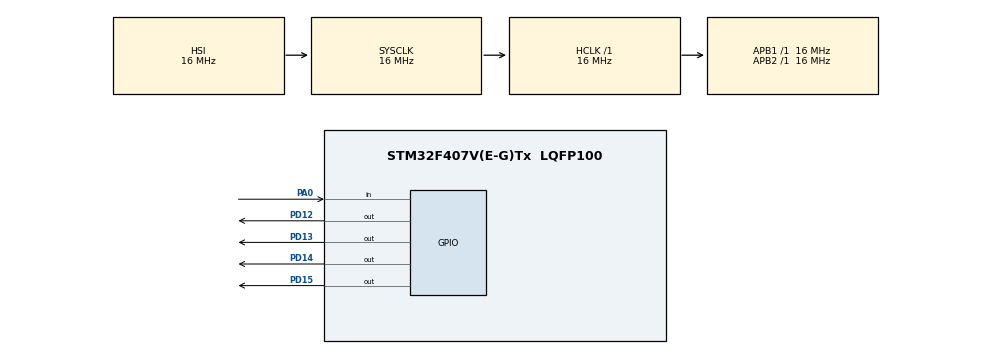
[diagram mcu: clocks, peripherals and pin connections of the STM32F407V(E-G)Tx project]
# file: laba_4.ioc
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Mcu.Family=STM32F4
Mcu.Name=STM32F407V(E-G)Tx
Mcu.Package=LQFP100
NVIC.PriorityGroup=NVIC_PRIORITYGROUP_4
NVIC.TIM2_IRQn=true\:0\:0\:false\:false\:true\:true\:true\:true
NVIC.TIM3_IRQn=true\:0\:0\:false\:false\:true\:true\:true\:true
NVIC.TIM4_IRQn=true\:0\:0\:false\:false\:true\:true\:true\:true
NVIC.TIM5_IRQn=true\:0\:0\:false\:false\:true\:true\:true\:true
PA0-WKUP.Signal=GPIO_Input
PD12.Signal=GPIO_Output
PD13.Signal=GPIO_Output
PD14.Signal=GPIO_Output
PD15.Signal=GPIO_Output
ProjectManager.HeapSize=0x200
ProjectManager.StackSize=0x400
ProjectManager.TargetToolchain=STM32CubeIDE
RCC.AHBFreq_Value=16000000
RCC.APB1Freq_Value=16000000
RCC.APB2Freq_Value=16000000
RCC.CortexFreq_Value=16000000
RCC.HSE_VALUE=25000000
RCC.HSI_VALUE=16000000
RCC.LSE_VALUE=32768
RCC.SYSCLKFreq_VALUE=16000000
RCC.VCOOutputFreq_Value=192000000
TIM2.Period=100
TIM2.Prescaler=15999
TIM3.Period=100
TIM3.Prescaler=15999
TIM4.Period=100
TIM4.Prescaler=15999
TIM5.Period=100
TIM5.Prescaler=15999
VP_TIM2_VS_ClockSourceINT.Mode=Internal
VP_TIM3_VS_ClockSourceINT.Mode=Internal
VP_TIM4_VS_ClockSourceINT.Mode=Internal
VP_TIM5_VS_ClockSourceINT.Mode=Internal
board=custom

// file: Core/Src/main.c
/* USER CODE BEGIN Header */
/**
  ******************************************************************************
  * @file           : main.c
  * @brief          : Main program body
  ******************************************************************************
  * @attention
  *
  * Copyright (c) 2024 STMicroelectronics.
  * All rights reserved.
  *
  * This software is licensed under terms that can be found in the LICENSE file
  * in the root directory of this software component.
  * If no LICENSE file comes with this software, it is provided AS-IS.
  *
  ******************************************************************************
  */
/* USER CODE END Header */
#include "main.h"

TIM_HandleTypeDef htim2;
TIM_HandleTypeDef htim3;
TIM_HandleTypeDef htim4;
TIM_HandleTypeDef htim5;

void SystemClock_Config(void);
static void MX_GPIO_Init(void);
static void MX_TIM3_Init(void);
static void MX_TIM2_Init(void);
static void MX_TIM4_Init(void);
static void MX_TIM5_Init(void);

/* USER CODE BEGIN 0 */
uint32_t count = 0;
uint8_t state = 0;

uint32_t periods[] = {99, 199, 299, 399};
/* USER CODE END 0 */

int main(void)
{

  /* MCU Configuration--------------------------------------------------------*/

  /* Reset of all peripherals, Initializes the Flash interface and the Systick. */
  HAL_Init();

  /* Configure the system clock */
  SystemClock_Config();

  /* Initialize all configured peripherals */
  MX_GPIO_Init();
  MX_TIM3_Init();
  MX_TIM2_Init();
  MX_TIM4_Init();
  MX_TIM5_Init();
  /* USER CODE BEGIN 2 */
  HAL_TIM_Base_Start_IT(&htim2);
  HAL_TIM_Base_Start_IT(&htim3);
  HAL_TIM_Base_Start_IT(&htim4);
  HAL_TIM_Base_Start_IT(&htim5);
  /* USER CODE END 2 */

  /* Infinite loop */
  while (1)
  {

    /* USER CODE BEGIN 3 */
      uint8_t button = HAL_GPIO_ReadPin(GPIOA, GPIO_PIN_0);

      if (button == GPIO_PIN_RESET && state == 0) {
          state = 1;
          count++;

          uint32_t latest = periods[3];
          for (int i = 3; i > 0; i--) {
              periods[i] = periods[i - 1];
          }
          periods[0] = latest;

          htim2.Init.Period = periods[0];
          HAL_TIM_Base_Stop_IT(&htim2);
          HAL_TIM_Base_Init(&htim2);
          HAL_TIM_Base_Start_IT(&htim2);

          htim3.Init.Period = periods[1];
          HAL_TIM_Base_Stop_IT(&htim3);
          HAL_TIM_Base_Init(&htim3);
          HAL_TIM_Base_Start_IT(&htim3);

          htim4.Init.Period = periods[2];
          HAL_TIM_Base_Stop_IT(&htim4);
          HAL_TIM_Base_Init(&htim4);
          HAL_TIM_Base_Start_IT(&htim4);

          htim5.Init.Period = periods[3];
          HAL_TIM_Base_Stop_IT(&htim5);
          HAL_TIM_Base_Init(&htim5);
          HAL_TIM_Base_Start_IT(&htim5);
      }

      if (button == GPIO_PIN_SET) {
          state = 0;
      }

      HAL_Delay(50);
  }
  /* USER CODE END 3 */
}

void SystemClock_Config(void)
{
  RCC_OscInitTypeDef RCC_OscInitStruct = {0};
  RCC_ClkInitTypeDef RCC_ClkInitStruct = {0};

  /** Configure the main internal regulator output voltage
  */
  __HAL_RCC_PWR_CLK_ENABLE();
  __HAL_PWR_VOLTAGESCALING_CONFIG(PWR_REGULATOR_VOLTAGE_SCALE1);

  /** Initializes the RCC Oscillators according to the specified parameters
  * in the RCC_OscInitTypeDef structure.
  */
  RCC_OscInitStruct.OscillatorType = RCC_OSCILLATORTYPE_HSI;
  RCC_OscInitStruct.HSIState = RCC_HSI_ON;
  RCC_OscInitStruct.HSICalibrationValue = RCC_HSICALIBRATION_DEFAULT;
  RCC_OscInitStruct.PLL.PLLState = RCC_PLL_NONE;
  if (HAL_RCC_OscConfig(&RCC_OscInitStruct) != HAL_OK)
  {
    Error_Handler();
  }

  /** Initializes the CPU, AHB and APB buses clocks
  */
  RCC_ClkInitStruct.ClockType = RCC_CLOCKTYPE_HCLK|RCC_CLOCKTYPE_SYSCLK
                              |RCC_CLOCKTYPE_PCLK1|RCC_CLOCKTYPE_PCLK2;
  RCC_ClkInitStruct.SYSCLKSource = RCC_SYSCLKSOURCE_HSI;
  RCC_ClkInitStruct.AHBCLKDivider = RCC_SYSCLK_DIV1;
  RCC_ClkInitStruct.APB1CLKDivider = RCC_HCLK_DIV1;
  RCC_ClkInitStruct.APB2CLKDivider = RCC_HCLK_DIV1;

  if (HAL_RCC_ClockConfig(&RCC_ClkInitStruct, FLASH_LATENCY_0) != HAL_OK)
  {
    Error_Handler();
  }
}

static void MX_TIM2_Init(void)
{

  TIM_ClockConfigTypeDef sClockSourceConfig = {0};
  TIM_MasterConfigTypeDef sMasterConfig = {0};

  htim2.Instance = TIM2;
  htim2.Init.Prescaler = 15999;
  htim2.Init.CounterMode = TIM_COUNTERMODE_UP;
  htim2.Init.Period = 100;
  htim2.Init.ClockDivision = TIM_CLOCKDIVISION_DIV1;
  htim2.Init.AutoReloadPreload = TIM_AUTORELOAD_PRELOAD_DISABLE;
  if (HAL_TIM_Base_Init(&htim2) != HAL_OK)
  {
    Error_Handler();
  }
  sClockSourceConfig.ClockSource = TIM_CLOCKSOURCE_INTERNAL;
  if (HAL_TIM_ConfigClockSource(&htim2, &sClockSourceConfig) != HAL_OK)
  {
    Error_Handler();
  }
  sMasterConfig.MasterOutputTrigger = TIM_TRGO_RESET;
  sMasterConfig.MasterSlaveMode = TIM_MASTERSLAVEMODE_DISABLE;
  if (HAL_TIMEx_MasterConfigSynchronization(&htim2, &sMasterConfig) != HAL_OK)
  {
    Error_Handler();
  }

}

static void MX_TIM3_Init(void)
{

  TIM_ClockConfigTypeDef sClockSourceConfig = {0};
  TIM_MasterConfigTypeDef sMasterConfig = {0};

  htim3.Instance = TIM3;
  htim3.Init.Prescaler = 15999;
  htim3.Init.CounterMode = TIM_COUNTERMODE_UP;
  htim3.Init.Period = 100;
  htim3.Init.ClockDivision = TIM_CLOCKDIVISION_DIV1;
  htim3.Init.AutoReloadPreload = TIM_AUTORELOAD_PRELOAD_DISABLE;
  if (HAL_TIM_Base_Init(&htim3) != HAL_OK)
  {
    Error_Handler();
  }
  sClockSourceConfig.ClockSource = TIM_CLOCKSOURCE_INTERNAL;
  if (HAL_TIM_ConfigClockSource(&htim3, &sClockSourceConfig) != HAL_OK)
  {
    Error_Handler();
  }
  sMasterConfig.MasterOutputTrigger = TIM_TRGO_RESET;
  sMasterConfig.MasterSlaveMode = TIM_MASTERSLAVEMODE_DISABLE;
  if (HAL_TIMEx_MasterConfigSynchronization(&htim3, &sMasterConfig) != HAL_OK)
  {
    Error_Handler();
  }

}

static void MX_TIM4_Init(void)
{

  TIM_ClockConfigTypeDef sClockSourceConfig = {0};
  TIM_MasterConfigTypeDef sMasterConfig = {0};

  htim4.Instance = TIM4;
  htim4.Init.Prescaler = 15999;
  htim4.Init.CounterMode = TIM_COUNTERMODE_UP;
  htim4.Init.Period = 100;
  htim4.Init.ClockDivision = TIM_CLOCKDIVISION_DIV1;
  htim4.Init.AutoReloadPreload = TIM_AUTORELOAD_PRELOAD_DISABLE;
  if (HAL_TIM_Base_Init(&htim4) != HAL_OK)
  {
    Error_Handler();
  }
  sClockSourceConfig.ClockSource = TIM_CLOCKSOURCE_INTERNAL;
  if (HAL_TIM_ConfigClockSource(&htim4, &sClockSourceConfig) != HAL_OK)
  {
    Error_Handler();
  }
  sMasterConfig.MasterOutputTrigger = TIM_TRGO_RESET;
  sMasterConfig.MasterSlaveMode = TIM_MASTERSLAVEMODE_DISABLE;
  if (HAL_TIMEx_MasterConfigSynchronization(&htim4, &sMasterConfig) != HAL_OK)
  {
    Error_Handler();
  }

}

static void MX_TIM5_Init(void)
{

  TIM_ClockConfigTypeDef sClockSourceConfig = {0};
  TIM_MasterConfigTypeDef sMasterConfig = {0};

  htim5.Instance = TIM5;
  htim5.Init.Prescaler = 15999;
  htim5.Init.CounterMode = TIM_COUNTERMODE_UP;
  htim5.Init.Period = 100;
  htim5.Init.ClockDivision = TIM_CLOCKDIVISION_DIV1;
  htim5.Init.AutoReloadPreload = TIM_AUTORELOAD_PRELOAD_DISABLE;
  if (HAL_TIM_Base_Init(&htim5) != HAL_OK)
  {
    Error_Handler();
  }
  sClockSourceConfig.ClockSource = TIM_CLOCKSOURCE_INTERNAL;
  if (HAL_TIM_ConfigClockSource(&htim5, &sClockSourceConfig) != HAL_OK)
  {
    Error_Handler();
  }
  sMasterConfig.MasterOutputTrigger = TIM_TRGO_RESET;
  sMasterConfig.MasterSlaveMode = TIM_MASTERSLAVEMODE_DISABLE;
  if (HAL_TIMEx_MasterConfigSynchronization(&htim5, &sMasterConfig) != HAL_OK)
  {
    Error_Handler();
  }

}

static void MX_GPIO_Init(void)
{
  GPIO_InitTypeDef GPIO_InitStruct = {0};

  /* GPIO Ports Clock Enable */
  __HAL_RCC_GPIOA_CLK_ENABLE();
  __HAL_RCC_GPIOD_CLK_ENABLE();

  /*Configure GPIO pin Output Level */
  HAL_GPIO_WritePin(GPIOD, GPIO_PIN_12|GPIO_PIN_13|GPIO_PIN_14|GPIO_PIN_15, GPIO_PIN_RESET);

  /*Configure GPIO pin : PA0 */
  GPIO_InitStruct.Pin = GPIO_PIN_0;
  GPIO_InitStruct.Mode = GPIO_MODE_INPUT;
  GPIO_InitStruct.Pull = GPIO_NOPULL;
  HAL_GPIO_Init(GPIOA, &GPIO_InitStruct);

  /*Configure GPIO pins : PD12 PD13 PD14 PD15 */
  GPIO_InitStruct.Pin = GPIO_PIN_12|GPIO_PIN_13|GPIO_PIN_14|GPIO_PIN_15;
  GPIO_InitStruct.Mode = GPIO_MODE_OUTPUT_PP;
  GPIO_InitStruct.Pull = GPIO_NOPULL;
  GPIO_InitStruct.Speed = GPIO_SPEED_FREQ_LOW;
  HAL_GPIO_Init(GPIOD, &GPIO_InitStruct);

}

void Error_Handler(void)
{
  __disable_irq();
  while (1)
  {
  }
}
